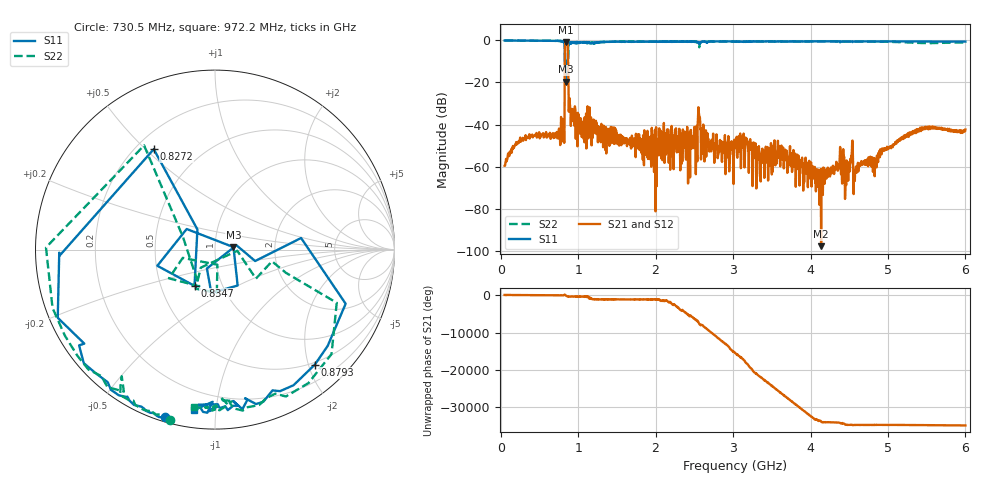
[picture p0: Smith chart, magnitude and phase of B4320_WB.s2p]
! Matrix data file written by TouchstoneData, EPCOS AG
! FILENAME: "AA30A_7_R01C20_WB.snp"
! COMMENT: "(TS/AA30A_7_R01C20_WB.s2p) Epcos AG 7/22/201"
! INFO: nport=2, nfreq=1601
! DATE: "Mon Aug 12 13:21:16 2013"
! USER: "Wee Chuan Tay"
! port | pin | signal
!  1  |  1  |  Input
!  2  |  4  |  Output
# MHZ S RI R 50
! freq  reS11 imS11  reS21 imS21  reS12 imS12  reS22 imS22
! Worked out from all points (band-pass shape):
!   1601 points, 50 MHz to 6 GHz, reference 50 ohm
!   highest |S21| = -0.76 dB at 845.8 MHz (marker M1); lowest = -97.8 dB at 4.137 GHz (marker M2)
!   |S21| within 3 dB of the highest: 829.8 MHz to 865.9 MHz (36.15 MHz wide, 4.26 % of centre)
!   lowest |S11| = -19.7 dB at 845.8 MHz (marker M3), VSWR 1.23, Z = 61.4 + j1.72 ohm
!   |S11| at or under -10 dB: 829 MHz to 837.8 MHz (8.774 MHz wide, 1.05 % of centre); 838.7 MHz to 866 MHz (27.21 MHz wide, 3.19 % of centre)
!   |S22| runs from -21.4 to 0.0 dB; largest |S21 - S12| = 0
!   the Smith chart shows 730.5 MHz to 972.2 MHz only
!   S11 on the Smith chart (normalised r, x): 730.5 MHz: 0.02, -0.74; 827.2 MHz: 0.27, +0.53; 834.7 MHz: 0.74, -0.32; 879.3 MHz: 0.46, -2.10; 972.2 MHz: 0.09, -0.87
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50  0.9852 -0.1456  0.000167 0.00104  0.000167 0.00104  0.9872 -0.1418
291.7188  0.6838 -0.7242  0.00308 0.00284  0.00308 0.00284  0.6979 -0.7082
730.5312  -0.2806 -0.9329  0.00453 -0.00132  0.00453 -0.00132  -0.2528 -0.9488
793.75  -0.5972 -0.7394  0.0087 -0.00635  0.0087 -0.00635  -0.5195 -0.7056
827.2188  -0.3413 0.5595  -0.3638 -0.0361  -0.3638 -0.0361  -0.3949 0.5804
834.6562  -0.1141 -0.2019  0.8376 -0.2703  0.8376 -0.2703  -0.0876 -0.2045
845.8125  0.1029 0.0138  -0.6243 -0.6703  -0.6243 -0.6703  0.0134 -0.0843
856.9688  -0.0451 -0.1053  -0.608 0.6275  -0.608 0.6275  -0.0791 -0.1007
879.2812  0.555 -0.6423  0.0197 0.00476  0.0197 0.00476  0.6492 -0.5822
905.3125  0.1805 -0.8366  0.00903 0.00219  0.00903 0.00219  0.155 -0.8967
972.25  -0.1176 -0.8949  0.0172 -0.00444  0.0172 -0.00444  -0.1169 -0.8785
1042.906  -0.2175 -0.8699  0.0081 0.000571  0.0081 0.000571  -0.194 -0.8788
2035.812  -0.7235 -0.5975  -0.0011 -0.0016  -0.0011 -0.0016  -0.7491 -0.5437
2418.844  -0.7855 -0.5035  0.000244 -0.000314  0.000244 -0.000314  -0.8321 -0.4403
2575.031  -0.744 -0.5072  0.0115 -0.00242  0.0115 -0.00242  -0.7072 -0.4901
2783.281  -0.8381 -0.443  -3.23e-05 0.00375  -3.23e-05 0.00375  -0.8756 -0.3545
3025  -0.8576 -0.3734  0.00231 0.0031  0.00231 0.0031  -0.8877 -0.2726
4017.906  -0.937 -0.1756  -0.00018 -0.000756  -0.00018 -0.000756  -0.9454 -0.0386
4136.906  -0.9411 -0.1531  -7.49e-06 1.04e-05  -7.49e-06 1.04e-05  -0.9454 -0.00336
5010.812  -0.9473 0.00566  -0.00157 -0.00243  -0.00157 -0.00243  -0.9043 0.1946
5460.781  -0.937 0.0771  -0.00838 -0.00143  -0.00838 -0.00143  -0.832 0.2324
6000  -0.9278 0.1582  -0.00112 0.00754  -0.00112 0.00754  -0.8459 0.3042
